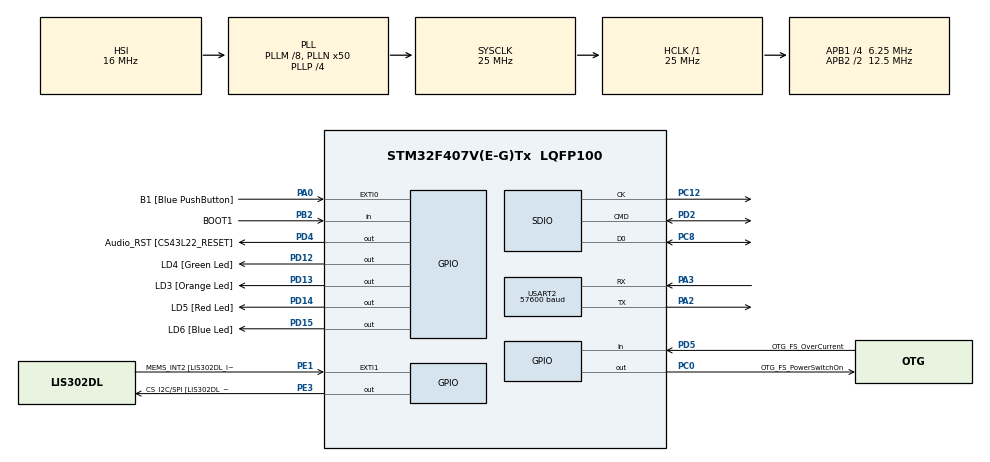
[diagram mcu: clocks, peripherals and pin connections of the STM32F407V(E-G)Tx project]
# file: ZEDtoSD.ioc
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Dma.Request0=USART2_RX
Dma.USART2_RX.0.Direction=DMA_PERIPH_TO_MEMORY
Dma.USART2_RX.0.FIFOMode=DMA_FIFOMODE_DISABLE
Dma.USART2_RX.0.Instance=DMA1_Stream5
Dma.USART2_RX.0.MemDataAlignment=DMA_MDATAALIGN_BYTE
Dma.USART2_RX.0.MemInc=DMA_MINC_ENABLE
Dma.USART2_RX.0.Mode=DMA_NORMAL
Dma.USART2_RX.0.PeriphDataAlignment=DMA_PDATAALIGN_BYTE
Dma.USART2_RX.0.PeriphInc=DMA_PINC_DISABLE
Dma.USART2_RX.0.Priority=DMA_PRIORITY_LOW
FATFS._MAX_SS=4096
FATFS._USE_LFN=1
Mcu.Family=STM32F4
Mcu.Name=STM32F407V(E-G)Tx
Mcu.Package=LQFP100
NVIC.DMA1_Stream5_IRQn=true\:0\:0\:false\:false\:true\:false\:true\:true
NVIC.EXTI0_IRQn=true\:0\:0\:false\:false\:true\:true\:true\:true
NVIC.PriorityGroup=NVIC_PRIORITYGROUP_0
PA0-WKUP.GPIO_Label=B1 [Blue PushButton]
PA0-WKUP.Signal=GPXTI0
PA10.GPIO_Label=OTG_FS_ID
PA10.GPIO_Mode=GPIO_MODE_AF_PP
PA10.GPIO_PuPd=GPIO_NOPULL
PA10.GPIO_Speed=GPIO_SPEED_FREQ_LOW
PA10.Signal=USB_OTG_FS_ID
PA11.GPIO_Label=OTG_FS_DM
PA11.GPIO_Mode=GPIO_MODE_AF_PP
PA11.GPIO_PuPd=GPIO_NOPULL
PA11.GPIO_Speed=GPIO_SPEED_FREQ_LOW
PA11.Signal=USB_OTG_FS_DM
PA12.GPIO_Label=OTG_FS_DP
PA12.GPIO_Mode=GPIO_MODE_AF_PP
PA12.GPIO_PuPd=GPIO_NOPULL
PA12.GPIO_Speed=GPIO_SPEED_FREQ_LOW
PA12.Signal=USB_OTG_FS_DP
PA13.GPIO_Label=SWDIO
PA13.Mode=Serial_Wire
PA13.Signal=SYS_JTMS-SWDIO
PA14.GPIO_Label=SWCLK
PA14.Mode=Serial_Wire
PA14.Signal=SYS_JTCK-SWCLK
PA2.Mode=Asynchronous
PA2.Signal=USART2_TX
PA3.Mode=Asynchronous
PA3.Signal=USART2_RX
PA4.GPIO_Label=I2S3_WS [CS43L22_LRCK]
PA4.GPIO_Mode=GPIO_MODE_AF_PP
PA4.GPIO_PuPd=GPIO_NOPULL
PA4.GPIO_Speed=GPIO_SPEED_FREQ_LOW
PA4.Signal=I2S3_WS
PA5.GPIO_Label=SPI1_SCK [LIS302DL_SCL/SPC]
PA5.GPIO_Mode=GPIO_MODE_AF_PP
PA5.GPIO_PuPd=GPIO_NOPULL
PA5.GPIO_Speed=GPIO_SPEED_FREQ_LOW
PA5.Signal=SPI1_SCK
PA6.GPIO_Label=SPI1_MISO [LIS302DL_SDO]
PA6.GPIO_Mode=GPIO_MODE_AF_PP
PA6.GPIO_PuPd=GPIO_NOPULL
PA6.GPIO_Speed=GPIO_SPEED_FREQ_LOW
PA6.Signal=SPI1_MISO
PA7.GPIO_Label=SPI1_MOSI [LIS302DL_SDA/SDI/SDO]
PA7.GPIO_Mode=GPIO_MODE_AF_PP
PA7.GPIO_PuPd=GPIO_NOPULL
PA7.GPIO_Speed=GPIO_SPEED_FREQ_LOW
PA7.Signal=SPI1_MOSI
PA9.GPIO_Label=VBUS_FS
PA9.GPIO_Mode=GPIO_MODE_INPUT
PA9.GPIO_PuPd=GPIO_NOPULL
PA9.Signal=USB_OTG_FS_VBUS
PB10.GPIO_Label=CLK_IN [MP45DT02_CLK]
PB10.GPIO_Mode=GPIO_MODE_AF_PP
PB10.GPIO_PuPd=GPIO_NOPULL
PB10.GPIO_Speed=GPIO_SPEED_FREQ_LOW
PB10.Signal=I2S2_CK
PB2.GPIO_Label=BOOT1
PB2.GPIO_Mode=GPIO_MODE_INPUT
PB2.GPIO_PuPd=GPIO_NOPULL
PB2.Signal=GPIO_Input
PB3.GPIO_Label=SWO
PB3.Signal=SYS_JTDO-SWO
PB6.GPIO_Label=Audio_SCL [CS43L22_SCL]
PB6.GPIO_Mode=GPIO_MODE_AF_OD
PB6.GPIO_PuPd=GPIO_NOPULL
PB6.GPIO_Speed=GPIO_SPEED_FREQ_LOW
PB6.Signal=I2C1_SCL
PC0.GPIO_Label=OTG_FS_PowerSwitchOn
PC0.GPIO_PuPd=GPIO_NOPULL
PC0.GPIO_Speed=GPIO_SPEED_FREQ_LOW
PC0.PinState=GPIO_PIN_SET
PC0.Signal=GPIO_Output
PC12.Mode=SD_1_bit
PC12.Signal=SDIO_CK
PC14-OSC32_IN.GPIO_Label=PC14-OSC32_IN
PC14-OSC32_IN.Signal=RCC_OSC32_IN
PC15-OSC32_OUT.GPIO_Label=PC15-OSC32_OUT
PC15-OSC32_OUT.Signal=RCC_OSC32_OUT
PC3.GPIO_Label=PDM_OUT [MP45DT02_DOUT]
PC3.GPIO_Mode=GPIO_MODE_AF_PP
PC3.GPIO_PuPd=GPIO_NOPULL
PC3.GPIO_Speed=GPIO_SPEED_FREQ_LOW
PC3.Signal=I2S2_SD
PC8.GPIO_PuPd=GPIO_PULLUP
PC8.Mode=SD_1_bit
PC8.Signal=SDIO_D0
PD12.GPIO_Label=LD4 [Green Led]
PD12.GPIO_PuPd=GPIO_NOPULL
PD12.GPIO_Speed=GPIO_SPEED_FREQ_LOW
PD12.Signal=GPIO_Output
PD13.GPIO_Label=LD3 [Orange Led]
PD13.GPIO_PuPd=GPIO_NOPULL
PD13.GPIO_Speed=GPIO_SPEED_FREQ_LOW
PD13.Signal=GPIO_Output
PD14.GPIO_Label=LD5 [Red Led]
PD14.GPIO_PuPd=GPIO_NOPULL
PD14.GPIO_Speed=GPIO_SPEED_FREQ_LOW
PD14.Signal=GPIO_Output
PD15.GPIO_Label=LD6 [Blue Led]
PD15.GPIO_PuPd=GPIO_NOPULL
PD15.GPIO_Speed=GPIO_SPEED_FREQ_LOW
PD15.Signal=GPIO_Output
PD2.GPIO_PuPd=GPIO_PULLUP
PD2.Mode=SD_1_bit
PD2.Signal=SDIO_CMD
PD4.GPIO_Label=Audio_RST [CS43L22_RESET]
PD4.GPIO_PuPd=GPIO_NOPULL
PD4.GPIO_Speed=GPIO_SPEED_FREQ_LOW
PD4.Signal=GPIO_Output
PD5.GPIO_Label=OTG_FS_OverCurrent
PD5.GPIO_Mode=GPIO_MODE_INPUT
PD5.GPIO_PuPd=GPIO_NOPULL
PD5.Signal=GPIO_Input
PE1.GPIO_Label=MEMS_INT2 [LIS302DL_INT2]
PE1.GPIO_ModeDefaultEXTI=GPIO_MODE_EVT_RISING
PE1.GPIO_PuPd=GPIO_NOPULL
PE1.Signal=GPXTI1
PE3.GPIO_Label=CS_I2C/SPI [LIS302DL_CS_I2C/SPI]
PE3.GPIO_PuPd=GPIO_NOPULL
PE3.GPIO_Speed=GPIO_SPEED_FREQ_LOW
PE3.Signal=GPIO_Output
PH0-OSC_IN.GPIO_Label=PH0-OSC_IN
PH0-OSC_IN.Mode=HSE-External-Oscillator
PH0-OSC_IN.Signal=RCC_OSC_IN
PH1-OSC_OUT.GPIO_Label=PH1-OSC_OUT
PH1-OSC_OUT.Mode=HSE-External-Oscillator
PH1-OSC_OUT.Signal=RCC_OSC_OUT
ProjectManager.HeapSize=0x200
ProjectManager.StackSize=0x400
ProjectManager.TargetToolchain=STM32CubeIDE
RCC.48MHZClocksFreq_Value=14285714.285714285
RCC.AHBFreq_Value=25000000
RCC.APB1CLKDivider=RCC_HCLK_DIV4
RCC.APB1Freq_Value=6250000
RCC.APB1TimFreq_Value=12500000
RCC.APB2CLKDivider=RCC_HCLK_DIV2
RCC.APB2Freq_Value=12500000
RCC.APB2TimFreq_Value=25000000
RCC.CortexFreq_Value=25000000
RCC.HCLKFreq_Value=25000000
RCC.HSE_VALUE=8000000
RCC.HSI_VALUE=16000000
RCC.LSE_VALUE=32768
RCC.PLLM=8
RCC.PLLN=50
RCC.PLLP=RCC_PLLP_DIV4
RCC.PLLQ=7
RCC.SYSCLKFreq_VALUE=25000000
RCC.SYSCLKSource=RCC_SYSCLKSOURCE_PLLCLK
RCC.VCOOutputFreq_Value=100000000
SDIO.ClockDiv=2
USART2.BaudRate=57600
USART2.VirtualMode=VM_ASYNC
VP_FATFS_VS_SDIO.Mode=SDIO
board=STM32F407G-DISC1

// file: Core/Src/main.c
/* USER CODE BEGIN Header */
/**
  ******************************************************************************
  * @file           : main.c
  * @brief          : Main program body
  ******************************************************************************
  * @attention
  *
  * Copyright (c) 2024 STMicroelectronics.
  * All rights reserved.
  *
  * This software is licensed under terms that can be found in the LICENSE file
  * in the root directory of this software component.
  * If no LICENSE file comes with this software, it is provided AS-IS.
  *
  ******************************************************************************
  */
/* USER CODE END Header */
#include "main.h"
#include "fatfs.h"

/* USER CODE BEGIN Includes */
#include <stdbool.h>
#include <stdio.h>
#include <string.h>
#include "SD.h"
#include "GPS.h"
/* USER CODE END Includes */

/* USER CODE BEGIN PD */
#define MAX_PATH_LENGTH 256
/* USER CODE END PD */

SD_HandleTypeDef hsd;

UART_HandleTypeDef huart2;
DMA_HandleTypeDef hdma_usart2_rx;

/* USER CODE BEGIN PV */
uint8_t UART2_rxBuf[100];
uint8_t GPS_Buf[100]; // UART2 rxBuf is copied to this and sent for processing
uint8_t loggingActive = 1;  // Logging flag
/* USER CODE END PV */

void SystemClock_Config(void);
static void MX_GPIO_Init(void);
static void MX_DMA_Init(void);
static void MX_SDIO_SD_Init(void);
static void MX_USART2_UART_Init(void);

/* USER CODE BEGIN 0 */
void HAL_UART_RxCpltCallback(UART_HandleTypeDef *huart) {
	if (huart->Instance == USART2) {
		memcpy(GPS_Buf, UART2_rxBuf, 100);
		/*Can make this faster by switching buffers every callback rather than copying */
		if (HAL_UART_Receive_DMA(&huart2, UART2_rxBuf, 100) != HAL_OK) {
			Error_Handler();
		}
//		printf((char*)GPS_Buf);
		GPS_uart(GPS_Buf);
	}
}
/* USER CODE END 0 */

int main(void)
{

  /* MCU Configuration--------------------------------------------------------*/

  /* Reset of all peripherals, Initializes the Flash interface and the Systick. */
  HAL_Init();

  /* Configure the system clock */
  SystemClock_Config();

  /* Initialize all configured peripherals */
  MX_GPIO_Init();
  MX_DMA_Init();
  MX_SDIO_SD_Init();
  MX_USART2_UART_Init();
  MX_FATFS_Init();
  /* USER CODE BEGIN 2 */
  SD_Card_Init();
  char basePath[MAX_PATH_LENGTH] = "/";
  list_dir (basePath);
//  char filename[100] = "MyTextFile.txt";
  if (HAL_UART_Receive_DMA(&huart2, UART2_rxBuf, 100) != HAL_OK) {
		Error_Handler();
	}
//  toggle_Log();
  /* USER CODE END 2 */

  /* Infinite loop */
  while (1)
  {

  }
}

void SystemClock_Config(void)
{
  RCC_OscInitTypeDef RCC_OscInitStruct = {0};
  RCC_ClkInitTypeDef RCC_ClkInitStruct = {0};

  /** Configure the main internal regulator output voltage
  */
  __HAL_RCC_PWR_CLK_ENABLE();
  __HAL_PWR_VOLTAGESCALING_CONFIG(PWR_REGULATOR_VOLTAGE_SCALE1);

  /** Initializes the RCC Oscillators according to the specified parameters
  * in the RCC_OscInitTypeDef structure.
  */
  RCC_OscInitStruct.OscillatorType = RCC_OSCILLATORTYPE_HSI;
  RCC_OscInitStruct.HSIState = RCC_HSI_ON;
  RCC_OscInitStruct.HSICalibrationValue = RCC_HSICALIBRATION_DEFAULT;
  RCC_OscInitStruct.PLL.PLLState = RCC_PLL_ON;
  RCC_OscInitStruct.PLL.PLLSource = RCC_PLLSOURCE_HSI;
  RCC_OscInitStruct.PLL.PLLM = 8;
  RCC_OscInitStruct.PLL.PLLN = 50;
  RCC_OscInitStruct.PLL.PLLP = RCC_PLLP_DIV4;
  RCC_OscInitStruct.PLL.PLLQ = 7;
  if (HAL_RCC_OscConfig(&RCC_OscInitStruct) != HAL_OK)
  {
    Error_Handler();
  }

  /** Initializes the CPU, AHB and APB buses clocks
  */
  RCC_ClkInitStruct.ClockType = RCC_CLOCKTYPE_HCLK|RCC_CLOCKTYPE_SYSCLK
                              |RCC_CLOCKTYPE_PCLK1|RCC_CLOCKTYPE_PCLK2;
  RCC_ClkInitStruct.SYSCLKSource = RCC_SYSCLKSOURCE_PLLCLK;
  RCC_ClkInitStruct.AHBCLKDivider = RCC_SYSCLK_DIV1;
  RCC_ClkInitStruct.APB1CLKDivider = RCC_HCLK_DIV4;
  RCC_ClkInitStruct.APB2CLKDivider = RCC_HCLK_DIV2;

  if (HAL_RCC_ClockConfig(&RCC_ClkInitStruct, FLASH_LATENCY_0) != HAL_OK)
  {
    Error_Handler();
  }
}

static void MX_SDIO_SD_Init(void)
{

  hsd.Instance = SDIO;
  hsd.Init.ClockEdge = SDIO_CLOCK_EDGE_RISING;
  hsd.Init.ClockBypass = SDIO_CLOCK_BYPASS_DISABLE;
  hsd.Init.ClockPowerSave = SDIO_CLOCK_POWER_SAVE_DISABLE;
  hsd.Init.BusWide = SDIO_BUS_WIDE_1B;
  hsd.Init.HardwareFlowControl = SDIO_HARDWARE_FLOW_CONTROL_DISABLE;
  hsd.Init.ClockDiv = 2;

}

static void MX_USART2_UART_Init(void)
{

  huart2.Instance = USART2;
  huart2.Init.BaudRate = 57600;
  huart2.Init.WordLength = UART_WORDLENGTH_8B;
  huart2.Init.StopBits = UART_STOPBITS_1;
  huart2.Init.Parity = UART_PARITY_NONE;
  huart2.Init.Mode = UART_MODE_TX_RX;
  huart2.Init.HwFlowCtl = UART_HWCONTROL_NONE;
  huart2.Init.OverSampling = UART_OVERSAMPLING_16;
  if (HAL_UART_Init(&huart2) != HAL_OK)
  {
    Error_Handler();
  }

}

static void MX_DMA_Init(void)
{

  /* DMA controller clock enable */
  __HAL_RCC_DMA1_CLK_ENABLE();

  /* DMA interrupt init */
  /* DMA1_Stream5_IRQn interrupt configuration */
  HAL_NVIC_SetPriority(DMA1_Stream5_IRQn, 0, 0);
  HAL_NVIC_EnableIRQ(DMA1_Stream5_IRQn);

}

static void MX_GPIO_Init(void)
{
  GPIO_InitTypeDef GPIO_InitStruct = {0};

  /* GPIO Ports Clock Enable */
  __HAL_RCC_GPIOE_CLK_ENABLE();
  __HAL_RCC_GPIOC_CLK_ENABLE();
  __HAL_RCC_GPIOH_CLK_ENABLE();
  __HAL_RCC_GPIOA_CLK_ENABLE();
  __HAL_RCC_GPIOB_CLK_ENABLE();
  __HAL_RCC_GPIOD_CLK_ENABLE();

  /*Configure GPIO pin Output Level */
  HAL_GPIO_WritePin(CS_I2C_SPI_GPIO_Port, CS_I2C_SPI_Pin, GPIO_PIN_RESET);

  /*Configure GPIO pin Output Level */
  HAL_GPIO_WritePin(OTG_FS_PowerSwitchOn_GPIO_Port, OTG_FS_PowerSwitchOn_Pin, GPIO_PIN_SET);

  /*Configure GPIO pin Output Level */
  HAL_GPIO_WritePin(GPIOD, LD4_Pin|LD3_Pin|LD5_Pin|LD6_Pin
                          |Audio_RST_Pin, GPIO_PIN_RESET);

  /*Configure GPIO pin : CS_I2C_SPI_Pin */
  GPIO_InitStruct.Pin = CS_I2C_SPI_Pin;
  GPIO_InitStruct.Mode = GPIO_MODE_OUTPUT_PP;
  GPIO_InitStruct.Pull = GPIO_NOPULL;
  GPIO_InitStruct.Speed = GPIO_SPEED_FREQ_LOW;
  HAL_GPIO_Init(CS_I2C_SPI_GPIO_Port, &GPIO_InitStruct);

  /*Configure GPIO pin : OTG_FS_PowerSwitchOn_Pin */
  GPIO_InitStruct.Pin = OTG_FS_PowerSwitchOn_Pin;
  GPIO_InitStruct.Mode = GPIO_MODE_OUTPUT_PP;
  GPIO_InitStruct.Pull = GPIO_NOPULL;
  GPIO_InitStruct.Speed = GPIO_SPEED_FREQ_LOW;
  HAL_GPIO_Init(OTG_FS_PowerSwitchOn_GPIO_Port, &GPIO_InitStruct);

  /*Configure GPIO pin : PDM_OUT_Pin */
  GPIO_InitStruct.Pin = PDM_OUT_Pin;
  GPIO_InitStruct.Mode = GPIO_MODE_AF_PP;
  GPIO_InitStruct.Pull = GPIO_NOPULL;
  GPIO_InitStruct.Speed = GPIO_SPEED_FREQ_LOW;
  GPIO_InitStruct.Alternate = GPIO_AF5_SPI2;
  HAL_GPIO_Init(PDM_OUT_GPIO_Port, &GPIO_InitStruct);

  /*Configure GPIO pin : B1_Pin */
  GPIO_InitStruct.Pin = B1_Pin;
  GPIO_InitStruct.Mode = GPIO_MODE_IT_RISING;
  GPIO_InitStruct.Pull = GPIO_NOPULL;
  HAL_GPIO_Init(B1_GPIO_Port, &GPIO_InitStruct);

  /*Configure GPIO pin : I2S3_WS_Pin */
  GPIO_InitStruct.Pin = I2S3_WS_Pin;
  GPIO_InitStruct.Mode = GPIO_MODE_AF_PP;
  GPIO_InitStruct.Pull = GPIO_NOPULL;
  GPIO_InitStruct.Speed = GPIO_SPEED_FREQ_LOW;
  GPIO_InitStruct.Alternate = GPIO_AF6_SPI3;
  HAL_GPIO_Init(I2S3_WS_GPIO_Port, &GPIO_InitStruct);

  /*Configure GPIO pins : SPI1_SCK_Pin SPI1_MISO_Pin SPI1_MOSI_Pin */
  GPIO_InitStruct.Pin = SPI1_SCK_Pin|SPI1_MISO_Pin|SPI1_MOSI_Pin;
  GPIO_InitStruct.Mode = GPIO_MODE_AF_PP;
  GPIO_InitStruct.Pull = GPIO_NOPULL;
  GPIO_InitStruct.Speed = GPIO_SPEED_FREQ_LOW;
  GPIO_InitStruct.Alternate = GPIO_AF5_SPI1;
  HAL_GPIO_Init(GPIOA, &GPIO_InitStruct);

  /*Configure GPIO pin : BOOT1_Pin */
  GPIO_InitStruct.Pin = BOOT1_Pin;
  GPIO_InitStruct.Mode = GPIO_MODE_INPUT;
  GPIO_InitStruct.Pull = GPIO_NOPULL;
  HAL_GPIO_Init(BOOT1_GPIO_Port, &GPIO_InitStruct);

  /*Configure GPIO pin : CLK_IN_Pin */
  GPIO_InitStruct.Pin = CLK_IN_Pin;
  GPIO_InitStruct.Mode = GPIO_MODE_AF_PP;
  GPIO_InitStruct.Pull = GPIO_NOPULL;
  GPIO_InitStruct.Speed = GPIO_SPEED_FREQ_LOW;
  GPIO_InitStruct.Alternate = GPIO_AF5_SPI2;
  HAL_GPIO_Init(CLK_IN_GPIO_Port, &GPIO_InitStruct);

  /*Configure GPIO pins : LD4_Pin LD3_Pin LD5_Pin LD6_Pin
                           Audio_RST_Pin */
  GPIO_InitStruct.Pin = LD4_Pin|LD3_Pin|LD5_Pin|LD6_Pin
                          |Audio_RST_Pin;
  GPIO_InitStruct.Mode = GPIO_MODE_OUTPUT_PP;
  GPIO_InitStruct.Pull = GPIO_NOPULL;
  GPIO_InitStruct.Speed = GPIO_SPEED_FREQ_LOW;
  HAL_GPIO_Init(GPIOD, &GPIO_InitStruct);

  /*Configure GPIO pin : VBUS_FS_Pin */
  GPIO_InitStruct.Pin = VBUS_FS_Pin;
  GPIO_InitStruct.Mode = GPIO_MODE_INPUT;
  GPIO_InitStruct.Pull = GPIO_NOPULL;
  HAL_GPIO_Init(VBUS_FS_GPIO_Port, &GPIO_InitStruct);

  /*Configure GPIO pins : OTG_FS_ID_Pin OTG_FS_DM_Pin OTG_FS_DP_Pin */
  GPIO_InitStruct.Pin = OTG_FS_ID_Pin|OTG_FS_DM_Pin|OTG_FS_DP_Pin;
  GPIO_InitStruct.Mode = GPIO_MODE_AF_PP;
  GPIO_InitStruct.Pull = GPIO_NOPULL;
  GPIO_InitStruct.Speed = GPIO_SPEED_FREQ_LOW;
  GPIO_InitStruct.Alternate = GPIO_AF10_OTG_FS;
  HAL_GPIO_Init(GPIOA, &GPIO_InitStruct);

  /*Configure GPIO pin : OTG_FS_OverCurrent_Pin */
  GPIO_InitStruct.Pin = OTG_FS_OverCurrent_Pin;
  GPIO_InitStruct.Mode = GPIO_MODE_INPUT;
  GPIO_InitStruct.Pull = GPIO_NOPULL;
  HAL_GPIO_Init(OTG_FS_OverCurrent_GPIO_Port, &GPIO_InitStruct);

  /*Configure GPIO pin : Audio_SCL_Pin */
  GPIO_InitStruct.Pin = Audio_SCL_Pin;
  GPIO_InitStruct.Mode = GPIO_MODE_AF_OD;
  GPIO_InitStruct.Pull = GPIO_NOPULL;
  GPIO_InitStruct.Speed = GPIO_SPEED_FREQ_LOW;
  GPIO_InitStruct.Alternate = GPIO_AF4_I2C1;
  HAL_GPIO_Init(Audio_SCL_GPIO_Port, &GPIO_InitStruct);

  /*Configure GPIO pin : MEMS_INT2_Pin */
  GPIO_InitStruct.Pin = MEMS_INT2_Pin;
  GPIO_InitStruct.Mode = GPIO_MODE_EVT_RISING;
  GPIO_InitStruct.Pull = GPIO_NOPULL;
  HAL_GPIO_Init(MEMS_INT2_GPIO_Port, &GPIO_InitStruct);

  /* EXTI interrupt init*/
  HAL_NVIC_SetPriority(EXTI0_IRQn, 0, 0);
  HAL_NVIC_EnableIRQ(EXTI0_IRQn);

}

/* USER CODE BEGIN 4 */
UART_HandleTypeDef GPS_UART_define() {
	return huart2;
}

void HAL_GPIO_EXTI_Callback(uint16_t GPIO_Pin)
{
	char config[100] = "ZDpoll";
	if(GPIO_Pin==B1_Pin){
		HAL_GPIO_TogglePin(LD4_GPIO_Port,LD4_Pin);
		send_msg(config);
	}
}
/* USER CODE END 4 */

void Error_Handler(void)
{
  __disable_irq();
  while (1)
  {
  }
}
